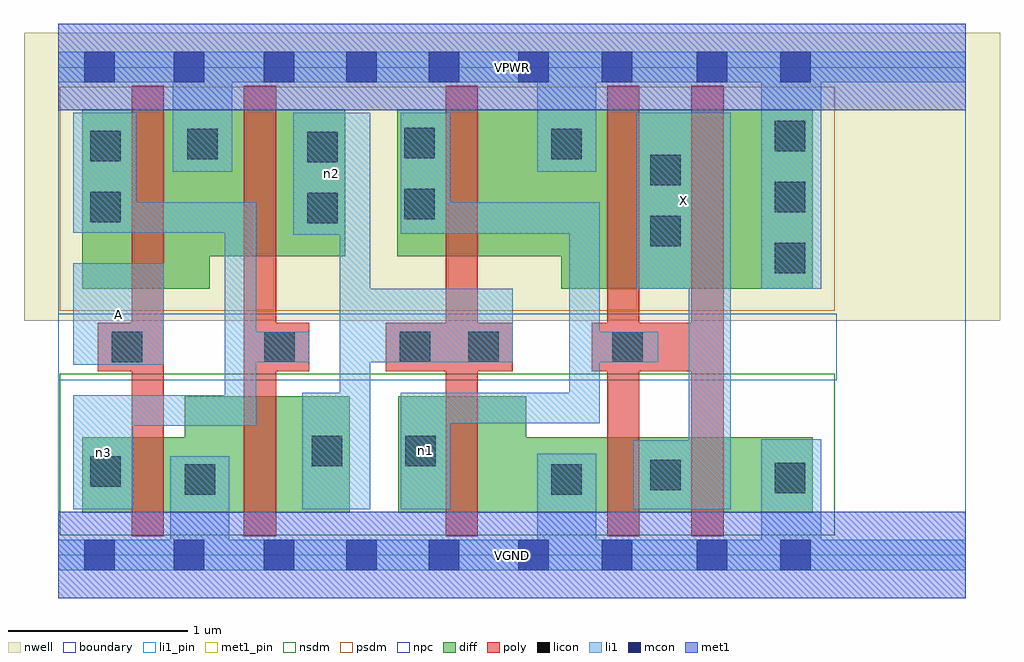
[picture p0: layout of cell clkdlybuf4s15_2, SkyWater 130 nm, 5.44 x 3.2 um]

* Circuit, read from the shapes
.subckt clkdlybuf4s15_2 A VGND VPWR X n1 n2 n3
XM1 VGND A n3 VSUBS sky130_fd_pr__nfet_01v8 w=0.42 l=0.18
XM2 n2 n3 VGND VSUBS sky130_fd_pr__nfet_01v8 w=0.65 l=0.18
XM3 VGND n2 n1 VSUBS sky130_fd_pr__nfet_01v8 w=0.65 l=0.18
XM4 X n1 VGND VSUBS sky130_fd_pr__nfet_01v8 w=0.42 l=0.18 m=2
XM5 VPWR A n3 n4 sky130_fd_pr__pfet_01v8 w=1 l=0.18
XM6 n2 n3 VPWR n4 sky130_fd_pr__pfet_01v8 w=0.82 l=0.18
XM7 VPWR n2 n1 n4 sky130_fd_pr__pfet_01v8 w=0.82 l=0.18
XM8 X n1 VPWR n4 sky130_fd_pr__pfet_01v8 w=1 l=0.18 m=2
.ends

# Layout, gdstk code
import gdstk
lib = gdstk.Library(unit=1e-6, precision=1e-09)
def R(c, l, rs):  # rectangles x0, y0, x1, y1
    for r in rs: c.add(gdstk.rectangle(r[:2], r[2:], *l))
def A(c, l, x, y, w, h, nx, ny, dx, dy):  # array of equal rectangles
    R(c, l, [(x+i*dx, y+j*dy, x+i*dx+w, y+j*dy+h) for i in range(nx) for j in range(ny)])
nwell = (64, 20)
diff = (65, 20)
poly = (66, 20)
licon = (66, 44)
li1_pin = (67, 16)
li1 = (67, 20)
mcon = (67, 44)
met1_pin = (68, 16)
met1 = (68, 20)
nsdm = (93, 44)
psdm = (94, 20)
npc = (95, 20)
boundary = (235, 4)

clkdlybuf4s15_2 = lib.new_cell('clkdlybuf4s15_2')
R(clkdlybuf4s15_2, nwell, [(-0.19,1.305,5.25,2.91), (0,1.305,5.06,2.91)])
R(clkdlybuf4s15_2, diff, [(0.135,0.235,1.625,0.655), (0.705,0.235,1.625,0.885), (1.895,0.235,4.205,0.655), (1.895,0.235,2.61,0.885), (0.135,1.485,0.845,2.485), (2.805,1.485,4.205,2.485), (0.135,1.665,1.6,2.485), (1.89,1.665,4.205,2.485)])
R(clkdlybuf4s15_2, poly, [(0.41,0.105,0.59,2.615), (1.035,0.105,1.215,2.615), (2.16,0.105,2.34,2.615), (3.06,0.105,3.24,2.615), (3.53,0.105,3.71,2.615), (0.22,1.025,0.59,1.295), (1.035,1.025,1.4,1.295), (1.825,1.025,2.535,1.295), (2.975,1.025,3.71,1.295)])
A(clkdlybuf4s15_2, licon, 3.995, 1.57, 0.17, 0.17, 1, 3, 0, 0.34)
R(clkdlybuf4s15_2, licon, [(0.705,0.335,0.875,0.505), (2.75,0.335,2.92,0.505), (3.995,0.345,4.165,0.515), (3.3,0.36,3.47,0.53), (0.18,0.38,0.35,0.55), (1.415,0.495,1.585,0.665), (1.935,0.495,2.105,0.665), (0.3,1.075,0.47,1.245), (1.15,1.075,1.32,1.245), (1.905,1.075,2.075,1.245), (2.285,1.075,2.455,1.245), (3.09,1.075,3.26,1.245), (3.3,1.72,3.47,1.89), (1.39,1.85,1.56,2.02), (0.18,1.855,0.35,2.025), (1.93,1.87,2.1,2.04), (3.3,2.06,3.47,2.23), (1.39,2.19,1.56,2.36), (0.18,2.195,0.35,2.365), (0.72,2.205,0.89,2.375), (2.75,2.205,2.92,2.375), (1.93,2.21,2.1,2.38)])
R(clkdlybuf4s15_2, li1_pin, [(0.085,1.06,0.59,1.625), (3.225,1.485,3.75,2.465)])
R(clkdlybuf4s15_2, li1, [(0,-0.085,5.06,0.085), (0.625,-0.085,0.955,0.55), (2.67,-0.085,3,0.565), (3.92,-0.085,4.255,0.645), (0.085,0.255,0.42,0.89), (1.36,0.255,1.74,0.905), (1.57,0.255,1.74,2.465), (1.91,0.255,2.185,0.905), (3.205,0.255,3.75,0.64), (3.515,0.255,3.75,2.465), (0.085,0.72,1.105,0.89), (0.93,0.72,1.105,1.965), (1.91,0.735,3.02,0.905), (2.85,0.735,3.02,1.965), (0.085,1.06,0.59,1.625), (0.93,1.075,1.4,1.245), (1.57,1.075,2.535,1.485), (2.85,1.075,3.345,1.245), (3.225,1.485,3.75,2.465), (3.92,1.485,4.255,2.805), (1.31,1.785,1.74,2.465), (1.91,1.79,2.185,2.465), (1.91,1.79,3.02,1.965), (0.085,1.795,1.105,1.965), (0.085,1.795,0.435,2.465), (0.64,2.135,0.97,2.805), (2.67,2.135,3,2.805), (0,2.635,5.06,2.805)])
A(clkdlybuf4s15_2, mcon, 0.145, -0.085, 0.17, 0.17, 3, 2, 0.5, 2.72)
R(clkdlybuf4s15_2, mcon, [(1.605,-0.085,1.775,0.085), (2.065,-0.085,2.235,0.085), (2.565,-0.085,2.735,0.085), (3.03,-0.085,3.2,0.085), (3.56,-0.085,3.73,0.085), (4.025,-0.085,4.195,0.085), (1.605,2.635,1.775,2.805), (2.065,2.635,2.235,2.805), (2.565,2.635,2.735,2.805), (3.03,2.635,3.2,2.805), (3.56,2.635,3.73,2.805), (4.025,2.635,4.195,2.805)])
R(clkdlybuf4s15_2, met1_pin, [(0,-0.24,5.06,0.24), (0,2.48,5.06,2.96)])
R(clkdlybuf4s15_2, met1, [(0,-0.24,5.06,0.24), (0,2.48,5.06,2.96)])
R(clkdlybuf4s15_2, nsdm, [(0.01,0.11,4.33,1.01)])
R(clkdlybuf4s15_2, psdm, [(0.01,1.36,4.33,2.61)])
R(clkdlybuf4s15_2, npc, [(0,0.975,4.34,1.345)])
R(clkdlybuf4s15_2, boundary, [(0,0,5.06,2.72)])
clkdlybuf4s15_2.add(gdstk.Label('A', (0.337,1.342), layer=67, texttype=5))
clkdlybuf4s15_2.add(gdstk.Label('X', (3.487,1.975), layer=67, texttype=5))
clkdlybuf4s15_2.add(gdstk.Label('n3', (0.252,0.572), layer=67, texttype=5))
clkdlybuf4s15_2.add(gdstk.Label('n2', (1.525,2.125), layer=67, texttype=5))
clkdlybuf4s15_2.add(gdstk.Label('n1', (2.047,0.58), layer=67, texttype=5))
clkdlybuf4s15_2.add(gdstk.Label('VPWR', (2.53,2.72), layer=68, texttype=5))
clkdlybuf4s15_2.add(gdstk.Label('VGND', (2.53,0), layer=68, texttype=5))
clkdlybuf4s15_2.add(gdstk.Label('A', (0.337,1.342), layer=67, texttype=16))
clkdlybuf4s15_2.add(gdstk.Label('X', (3.487,1.975), layer=67, texttype=16))
clkdlybuf4s15_2.add(gdstk.Label('VPWR', (2.53,2.72), layer=68, texttype=16))
clkdlybuf4s15_2.add(gdstk.Label('VGND', (2.53,0), layer=68, texttype=16))

lib.write_gds('clkdlybuf4s15_2.gds')
